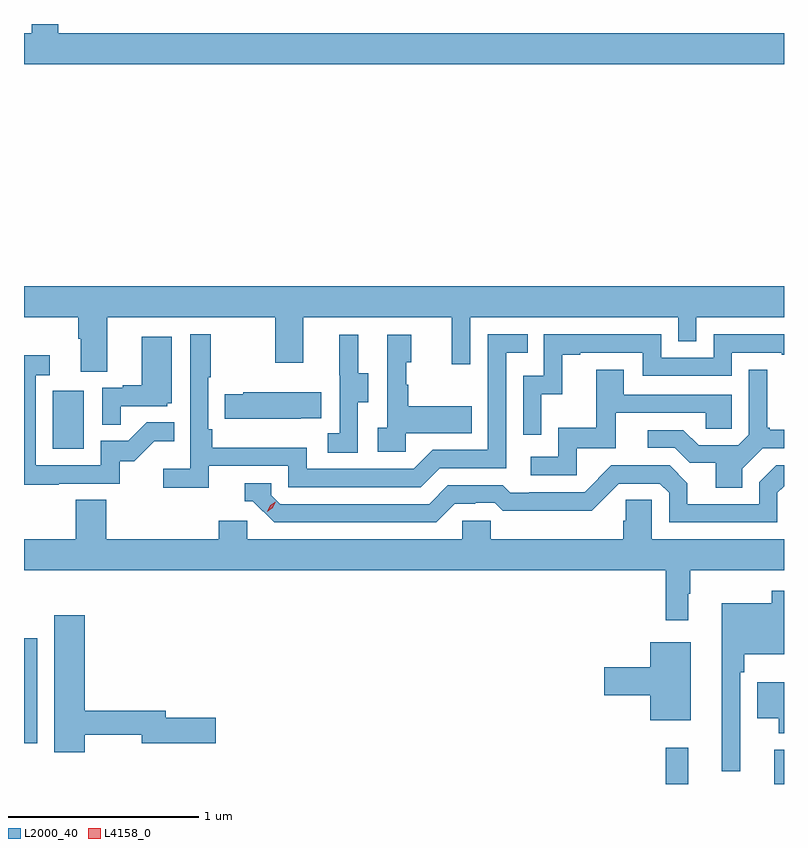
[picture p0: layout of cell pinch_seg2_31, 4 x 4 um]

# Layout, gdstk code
import gdstk
lib = gdstk.Library(unit=1e-6, precision=1e-09)
def R(c, l, rs):  # rectangles x0, y0, x1, y1
    for r in rs: c.add(gdstk.rectangle(r[:2], r[2:], *l))
def P(c, l, *ps):  # polygons
    for p in ps: c.add(gdstk.Polygon(p, *l))
L2000_40 = (2000, 40)
L4158_0 = (4158, 0)

pinch_seg2_31 = lib.new_cell('pinch_seg2_31')
R(pinch_seg2_31, L2000_40, [(1132.027,654.504,1132.145,654.694), (1132.598,654.504,1132.649,654.685), (1128.649,654.718,1128.72,655.27), (1128.8,656.268,1128.964,656.575)])
P(pinch_seg2_31, L2000_40, [(1132.649,658.456),(1128.829,658.456),(1128.829,658.504),(1128.689,658.504),(1128.689,658.456),(1128.649,658.456),(1128.649,658.292),(1132.649,658.292)],
  [(1129.087,656.96),(1129.972,656.96),(1129.972,656.721),(1130.119,656.721),(1130.119,656.96),(1130.9,656.96),(1130.9,656.712),(1130.997,656.712),(1130.997,656.96),(1132.092,656.96),(1132.092,656.833),(1132.188,656.833),(1132.188,656.96),(1132.649,656.96),(1132.649,657.124),(1128.649,657.124),(1128.649,656.96),(1128.935,656.96),(1128.935,656.848),(1128.947,656.848),(1128.947,656.674),(1129.087,656.674)],
  [(1129.622,656.178),(1130.04,656.178),(1130.04,656.067),(1130.737,656.067),(1130.836,656.166),(1131.186,656.166),(1131.186,656.775),(1131.299,656.775),(1131.299,656.871),(1131.09,656.871),(1131.09,656.262),(1130.799,656.262),(1130.7,656.163),(1130.136,656.163),(1130.136,656.275),(1129.64,656.275),(1129.64,656.371),(1129.62,656.371),(1129.62,656.644),(1129.633,656.644),(1129.633,656.872),(1129.524,656.872),(1129.524,656.164),(1129.383,656.164),(1129.383,656.062),(1129.622,656.062)],
  [(1131.372,656.555),(1131.482,656.555),(1131.482,656.763),(1131.577,656.763),(1131.577,656.775),(1131.906,656.775),(1131.906,656.652),(1132.374,656.652),(1132.374,656.775),(1132.637,656.775),(1132.637,656.763),(1132.649,656.763),(1132.649,656.871),(1132.278,656.871),(1132.278,656.748),(1132.002,656.748),(1132.002,656.871),(1131.384,656.871),(1131.384,656.652),(1131.276,656.652),(1131.276,656.343),(1131.372,656.343)],
  [(1130.658,656.351),(1131.005,656.351),(1131.005,656.491),(1130.671,656.491),(1130.671,656.606),(1130.661,656.606),(1130.661,656.724),(1130.686,656.724),(1130.686,656.869),(1130.562,656.869),(1130.562,656.378),(1130.511,656.378),(1130.511,656.253),(1130.658,656.253)],
  [(1130.406,656.512),(1130.461,656.512),(1130.461,656.667),(1130.407,656.667),(1130.407,656.869),(1130.309,656.869),(1130.309,656.655),(1130.31,656.655),(1130.31,656.351),(1130.247,656.351),(1130.247,656.248),(1130.406,656.248)],
  [(1129.157,656.493),(1129.404,656.493),(1129.404,656.508),(1129.426,656.508),(1129.426,656.857),(1129.268,656.857),(1129.268,656.602),(1129.169,656.602),(1129.169,656.589),(1129.062,656.589),(1129.062,656.395),(1129.157,656.395)],
  [(1128.833,656.085),(1129.152,656.085),(1129.152,656.202),(1129.228,656.202),(1129.335,656.309),(1129.439,656.309),(1129.439,656.408),(1129.295,656.408),(1129.197,656.31),(1129.053,656.31),(1129.053,656.181),(1128.711,656.181),(1128.711,656.655),(1128.784,656.655),(1128.784,656.761),(1128.649,656.761),(1128.649,656.08),(1128.833,656.08)],
  [(1132.429,656.164),(1132.536,656.271),(1132.649,656.271),(1132.649,656.368),(1132.573,656.368),(1132.573,656.38),(1132.561,656.38),(1132.561,656.683),(1132.464,656.683),(1132.464,656.343),(1132.407,656.286),(1132.201,656.286),(1132.12,656.367),(1131.933,656.367),(1131.933,656.274),(1132.074,656.274),(1132.154,656.194),(1132.289,656.194),(1132.289,656.062),(1132.429,656.062)],
  [(1131.558,656.271),(1131.763,656.271),(1131.763,656.457),(1132.237,656.457),(1132.237,656.373),(1132.374,656.373),(1132.374,656.553),(1131.805,656.553),(1131.805,656.683),(1131.661,656.683),(1131.661,656.38),(1131.462,656.38),(1131.462,656.226),(1131.315,656.226),(1131.315,656.13),(1131.558,656.13)],
  [(1130.105,656.429),(1130.213,656.429),(1130.213,656.566),(1129.803,656.566),(1129.803,656.556),(1129.705,656.556),(1129.705,656.426),(1130.105,656.426)],
  [(1130.917,655.98),(1131.024,655.98),(1131.024,655.983),(1131.127,655.983),(1131.169,655.941),(1131.402,655.941),(1131.402,655.943),(1131.638,655.943),(1131.78,656.085),(1131.996,656.085),(1132.044,656.037),(1132.044,655.881),(1132.614,655.881),(1132.614,656.037),(1132.649,656.072),(1132.649,656.181),(1132.608,656.181),(1132.518,656.091),(1132.518,655.977),(1132.141,655.977),(1132.141,656.087),(1132.047,656.181),(1131.741,656.181),(1131.6,656.04),(1131.307,656.04),(1131.307,656.037),(1131.208,656.037),(1131.169,656.076),(1130.88,656.076),(1130.781,655.977),(1129.998,655.977),(1129.95,656.025),(1129.95,656.088),(1129.811,656.088),(1129.811,655.992),(1129.854,655.992),(1129.965,655.881),(1130.818,655.881)],
  [(1132.144,655.505),(1132.156,655.505),(1132.156,655.628),(1132.649,655.628),(1132.649,655.792),(1131.954,655.792),(1131.954,656),(1131.817,656),(1131.817,655.89),(1131.803,655.89),(1131.803,655.792),(1131.105,655.792),(1131.105,655.89),(1130.955,655.89),(1130.955,655.792),(1129.824,655.792),(1129.824,655.89),(1129.673,655.89),(1129.673,655.792),(1129.082,655.792),(1129.082,656),(1128.922,656),(1128.922,655.792),(1128.649,655.792),(1128.649,655.628),(1132.027,655.628),(1132.027,655.365),(1132.144,655.365)],
  [(1132.419,655.091),(1132.439,655.091),(1132.439,655.187),(1132.649,655.187),(1132.649,655.522),(1132.584,655.522),(1132.584,655.456),(1132.322,655.456),(1132.322,654.57),(1132.419,654.57)],
  [(1128.97,654.762),(1129.268,654.762),(1129.268,654.719),(1129.657,654.719),(1129.657,654.854),(1129.396,654.854),(1129.396,654.89),(1128.97,654.89),(1128.97,655.393),(1128.809,655.393),(1128.809,654.672),(1128.97,654.672)],
  [(1132.159,655.249),(1131.944,655.249),(1131.944,655.118),(1131.702,655.118),(1131.702,654.971),(1131.944,654.971),(1131.944,654.839),(1132.159,654.839)],
  [(1132.649,655.039),(1132.508,655.039),(1132.508,654.851),(1132.622,654.851),(1132.622,654.77),(1132.649,654.77)])
P(pinch_seg2_31, L4158_0, [(1129.928,655.938),(1129.928,655.938),(1129.944,655.971),(1129.975,655.99),(1129.975,655.99),(1129.975,655.989),(1129.959,655.957),(1129.928,655.938)])

lib.write_gds('pinch_seg2_31.gds')
